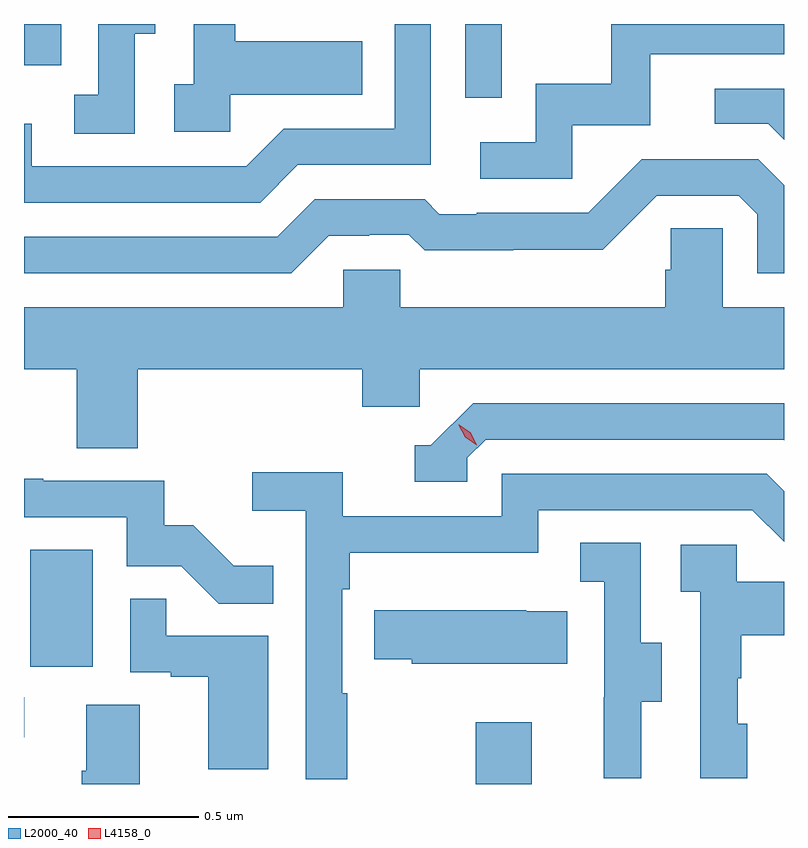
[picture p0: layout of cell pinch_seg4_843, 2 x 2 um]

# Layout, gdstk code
import gdstk
lib = gdstk.Library(unit=1e-6, precision=1e-09)
def R(c, l, rs):  # rectangles x0, y0, x1, y1
    for r in rs: c.add(gdstk.rectangle(r[:2], r[2:], *l))
def P(c, l, *ps):  # polygons
    for p in ps: c.add(gdstk.Polygon(p, *l))
L2000_40 = (2000, 40)
L4158_0 = (4158, 0)

pinch_seg4_843 = lib.new_cell('pinch_seg4_843')
R(pinch_seg4_843, L2000_40, [(826.054,790.401,826.201,790.564), (824.865,790.524,824.866,790.629), (824.882,790.71,825.046,791.017), (826.026,792.207,826.122,792.401), (824.865,792.293,824.963,792.401)])
P(pinch_seg4_843, L2000_40, [(825.156,792.376),(825.211,792.376),(825.211,792.401),(825.06,792.401),(825.06,792.215),(824.997,792.215),(824.997,792.112),(825.156,792.112)],
  [(825.408,792.215),(825.755,792.215),(825.755,792.355),(825.421,792.355),(825.421,792.401),(825.312,792.401),(825.312,792.242),(825.261,792.242),(825.261,792.117),(825.408,792.117)],
  [(826.308,792.135),(826.513,792.135),(826.513,792.321),(826.865,792.321),(826.865,792.401),(826.411,792.401),(826.411,792.244),(826.212,792.244),(826.212,792.09),(826.065,792.09),(826.065,791.994),(826.308,791.994)],
  [(825.586,792.03),(825.936,792.03),(825.936,792.401),(825.84,792.401),(825.84,792.126),(825.549,792.126),(825.45,792.027),(824.886,792.027),(824.886,792.139),(824.865,792.139),(824.865,791.931),(825.487,791.931)],
  [(826.865,792.231),(826.683,792.231),(826.683,792.138),(826.824,792.138),(826.865,792.097)],
  [(825.667,791.844),(825.774,791.844),(825.774,791.847),(825.877,791.847),(825.919,791.805),(826.152,791.805),(826.152,791.807),(826.388,791.807),(826.53,791.949),(826.746,791.949),(826.794,791.901),(826.794,791.745),(826.865,791.745),(826.865,791.977),(826.797,792.045),(826.491,792.045),(826.35,791.904),(826.057,791.904),(826.057,791.901),(825.958,791.901),(825.919,791.94),(825.63,791.94),(825.531,791.841),(824.865,791.841),(824.865,791.745),(825.568,791.745)],
  [(825.164,791.492),(825.755,791.492),(825.755,791.394),(825.906,791.394),(825.906,791.492),(826.865,791.492),(826.865,791.656),(826.704,791.656),(826.704,791.864),(826.567,791.864),(826.567,791.754),(826.553,791.754),(826.553,791.656),(825.855,791.656),(825.855,791.754),(825.705,791.754),(825.705,791.656),(824.865,791.656),(824.865,791.492),(825.004,791.492),(825.004,791.284),(825.164,791.284)],
  [(826.032,791.259),(826.08,791.307),(826.863,791.307),(826.865,791.305),(826.865,791.403),(826.047,791.403),(825.936,791.292),(825.893,791.292),(825.893,791.196),(826.032,791.196)],
  [(825.715,790.64),(825.702,790.64),(825.702,790.913),(825.722,790.913),(825.722,791.009),(826.218,791.009),(826.218,791.121),(826.782,791.121),(826.865,791.038),(826.865,791.171),(826.819,791.217),(826.122,791.217),(826.122,791.106),(825.704,791.106),(825.704,791.222),(825.465,791.222),(825.465,791.12),(825.606,791.12),(825.606,790.413),(825.715,790.413)],
  [(825.521,790.975),(825.417,790.975),(825.31,791.082),(825.234,791.082),(825.234,791.199),(824.915,791.199),(824.915,791.204),(824.865,791.204),(824.865,791.103),(825.135,791.103),(825.135,790.974),(825.279,790.974),(825.377,790.876),(825.521,790.876)],
  [(826.489,790.618),(826.543,790.618),(826.543,790.773),(826.488,790.773),(826.488,791.036),(826.329,791.036),(826.329,790.933),(826.392,790.933),(826.392,790.629),(826.391,790.629),(826.391,790.416),(826.489,790.416)],
  [(826.768,790.56),(826.743,790.56),(826.743,790.679),(826.753,790.679),(826.753,790.793),(826.865,790.793),(826.865,790.933),(826.74,790.933),(826.74,791.031),(826.593,791.031),(826.593,790.907),(826.644,790.907),(826.644,790.416),(826.768,790.416)],
  [(825.508,790.791),(825.239,790.791),(825.239,790.889),(825.144,790.889),(825.144,790.695),(825.251,790.695),(825.251,790.683),(825.35,790.683),(825.35,790.44),(825.508,790.44)],
  [(826.295,790.855),(826.187,790.855),(826.187,790.858),(825.787,790.858),(825.787,790.729),(825.885,790.729),(825.885,790.718),(826.295,790.718)],
  [(825.169,790.61),(825.029,790.61),(825.029,790.436),(825.017,790.436),(825.017,790.401),(825.169,790.401)])
P(pinch_seg4_843, L4158_0, [(826.057,791.293),(826.026,791.313),(826.009,791.345),(826.009,791.346),(826.01,791.346),(826.041,791.326),(826.057,791.294),(826.057,791.293)])

lib.write_gds('pinch_seg4_843.gds')
